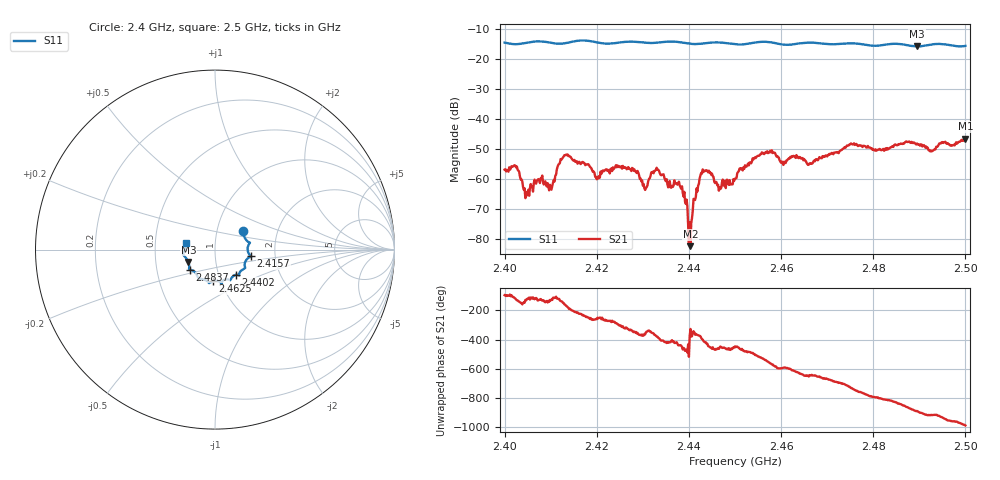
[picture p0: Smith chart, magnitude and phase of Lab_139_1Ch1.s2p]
# Hz S RI R 50
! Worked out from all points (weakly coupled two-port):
!   601 points, 2.4 GHz to 2.5 GHz, reference 50 ohm
!   highest |S21| = -46.43 dB at 2.5 GHz (marker M1); lowest = -82.3 dB at 2.4403 GHz (marker M2)
!   lowest |S11| = -15.7 dB at 2.4895 GHz (marker M3), VSWR 1.39, Z = 36.8 - j5.18 ohm
!   |S11| at or under -10 dB: start of sweep to end of sweep
!   S12 and S22 are empty: the file has one direction only
!   S11 on the Smith chart (normalised r, x): 2.4 GHz: 1.34, +0.29; 2.4157 GHz: 1.49, -0.11; 2.4402 GHz: 1.20, -0.35; 2.4625 GHz: 0.92, -0.34; 2.4837 GHz: 0.74, -0.17; 2.5 GHz: 0.72, +0.05
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2.4e9  0.1569 0.1062  -0.000153 -0.00144  0 0  0 0
2.4025e9  0.1645 0.0686  -0.000922 -0.00126  0 0  0 0
2.405e9  0.1846 0.0434  -0.000281 -0.000463  0 0  0 0
2.41e9  0.1866 0.0253  -0.000488 -0.000544  0 0  0 0
2.413167e9  0.1845 -0.014  -0.0024 -0.000766  0 0  0 0
2.415667e9  0.1988 -0.0367  -0.0016 0.00119  0 0  0 0
2.416667e9  0.2015 -0.0401  -0.00129 0.00133  0 0  0 0
2.427667e9  0.1679 -0.1024  0.00143 0.000568  0 0  0 0
2.4305e9  0.151 -0.1136  0.00066 -5.43e-05  0 0  0 0
2.433333e9  0.1359 -0.133  0.00127 -0.00068  0 0  0 0
2.438167e9  0.1294 -0.1411  0.000152 -0.00072  0 0  0 0
2.440167e9  0.1147 -0.1406  0.000185 -5.85e-05  0 0  0 0
2.440333e9  0.1134 -0.1409  6.43e-05 4.13e-05  0 0  0 0
2.443e9  0.0929 -0.1572  0.00111 -0.000947  0 0  0 0
2.45e9  0.0641 -0.1658  5.42e-05 -0.00102  0 0  0 0
2.456167e9  0.0388 -0.1917  -0.00272 -0.000371  0 0  0 0
2.4625e9  -0.0101 -0.1765  -0.000786 0.00225  0 0  0 0
2.466667e9  -0.0332 -0.1864  0.000366 0.00177  0 0  0 0
2.483333e9  -0.1382 -0.1121  -0.000237 -0.00324  0 0  0 0
2.483667e9  -0.14 -0.1118  -0.000479 -0.00334  0 0  0 0
2.4895e9  -0.1484 -0.0685  -0.00386 -0.000748  0 0  0 0
2.5e9  -0.1628 0.0363  -0.000153 0.00477  0 0  0 0
